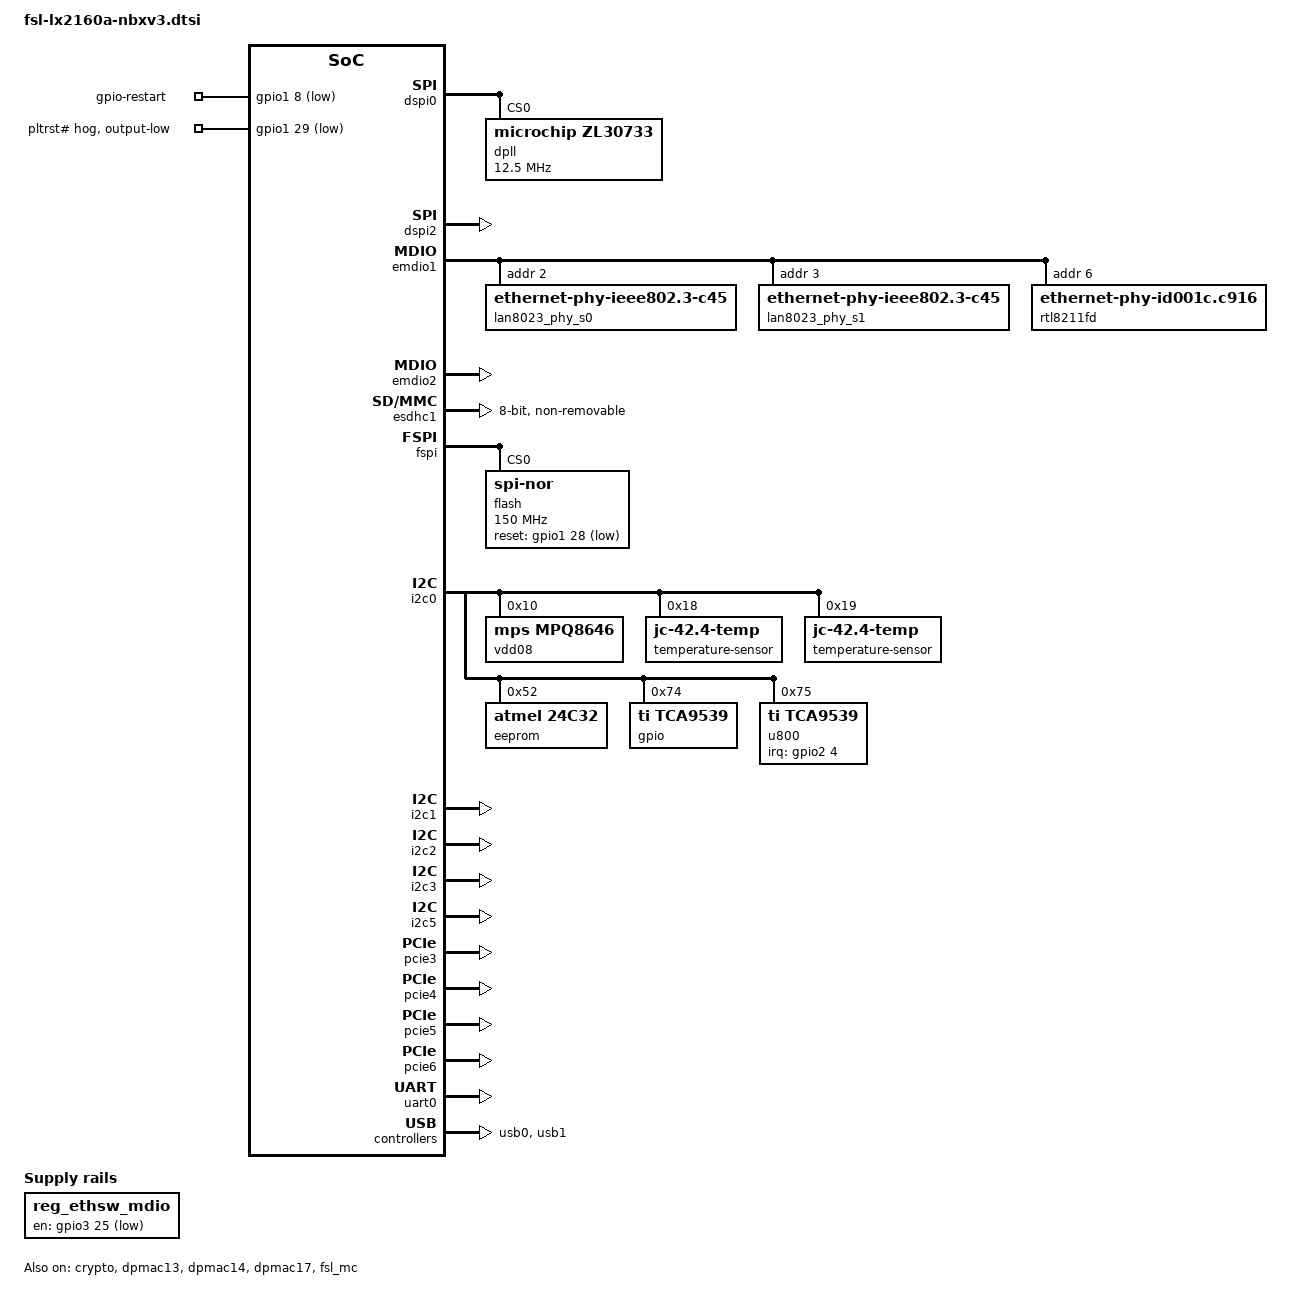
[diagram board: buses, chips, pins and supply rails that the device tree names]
// SPDX-License-Identifier: (GPL-2.0+ OR MIT)
/*
 * Free Mobile Nodebox v3 CPU Module (LX2160A)
 *
 * Copyright 2026 Free Mobile, Vincent Jardin
 *
 * This file is shared by the Linux kernel and U-Boot.
 */

#include <dt-bindings/gpio/gpio.h>
#include <dt-bindings/interrupt-controller/irq.h>

/ {

	aliases {
		serial0 = &uart0;
	};

	chosen {
		stdout-path = "serial0:115200n8";
	};

	gpio-restart {
		compatible = "gpio-restart";
		gpios = <&gpio1 8 GPIO_ACTIVE_LOW>;
		priority = <128>;
	};

	reg_ethsw_mdio: regulator-ethsw-mdio {
		compatible = "regulator-fixed";
		gpio = <&gpio3 25 GPIO_ACTIVE_LOW>;
		regulator-always-on;
		regulator-boot-on;
		regulator-name = "ethsw-mdio-en";
	};
};

&crypto {
	status = "okay";
};

&dpmac13 {
	phy-connection-type = "10gbase-r";
	phy-handle = <&lan8023_phy_s0>;

	status = "okay";
};

&dpmac14 {
	phy-connection-type = "10gbase-r";
	phy-handle = <&lan8023_phy_s1>;

	status = "okay";
};

&dpmac17 {
	phy-connection-type = "rgmii-id";
	phy-handle = <&rtl8211fd>;

	status = "okay";
};

&dspi0 {
	status = "okay";

	dpll@0 {
		compatible = "microchip,zl30733";
		reg = <0>;
		spi-max-frequency = <12500000>;
	};
};

&dspi2 {
	status = "okay";
};

&emdio1 {
	status = "okay";

	/* Microchip LAN8023 dual 10G PCS/retimer, Clause 45 only, one address per slice */
	lan8023_phy_s0: ethernet-phy@2 {
		compatible = "ethernet-phy-ieee802.3-c45";
		reg = <2>;
	};

	lan8023_phy_s1: ethernet-phy@3 {
		compatible = "ethernet-phy-ieee802.3-c45";
		reg = <3>;
	};

	rtl8211fd: ethernet-phy@6 {
		compatible = "ethernet-phy-id001c.c916";
		reg = <6>;
	};
};

&emdio2 {
	status = "okay";
};

&esdhc1 {
	bus-width = <8>;
	mmc-hs200-1_8v;
	mmc-hs400-1_8v;
	non-removable;

	status = "okay";
};

&fsl_mc {
	status = "okay";
};

&fspi {
	status = "okay";

	/* GigaDevice GD55LB02GF, 256 MiB boot NOR */
	flash@0 {
		compatible = "jedec,spi-nor";
		reg = <0>;
		#address-cells = <1>;
		#size-cells = <1>;
		reset-gpios = <&gpio1 28 GPIO_ACTIVE_LOW>;
		spi-max-frequency = <150000000>;
		spi-rx-bus-width = <1>;
		spi-tx-bus-width = <1>;
	};
};

&gpio0 {
	gpio-line-names =
		"", "",
		"altfn:iic1-sda", "altfn:iic1-scl",
		"altfn:uart4-sin", "altfn:uart4-sout",
		"altfn:uart2-sin", "altfn:uart2-sout",
		"altfn:uart3-sin", "altfn:uart3-sout",
		"altfn:uart1-sin", "altfn:uart1-sout",
		"altfn:spi3-pcs3", "altfn:spi3-pcs2",
		"altfn:spi3-pcs1", "altfn:spi3-pcs0",
		"altfn:spi1-sck", "altfn:spi1-sin",
		"altfn:spi1-pcs2", "altfn:spi1-pcs1",
		"altfn:spi1-pcs0", "altfn:spi1-sout",
		"altfn:iic6-sda", "altfn:iic6-scl",
		"altfn:spi3-sin", "altfn:spi3-sout",
		"altfn:iic4-sda", "altfn:iic4-scl",
		"altfn:iic3-sda", "altfn:iic3-scl",
		"altfn:iic2-sda", "altfn:iic2-scl";

	status = "okay";
};

&gpio1 {
	gpio-line-names =
		"", "", "", "", "", "",
		"cfg-rcw-src2", "cfg-rcw-src3",
		"reset-req-b",
		"altfn:sdhc2-clk", "altfn:sdhc2-ds",
		"altfn:sdhc2-dat0", "altfn:sdhc2-dat1",
		"altfn:sdhc2-dat2", "altfn:sdhc2-dat3",
		"altfn:sdhc2-dat4", "altfn:sdhc2-dat5",
		"altfn:sdhc2-dat6", "altfn:sdhc2-dat7",
		"altfn:sdhc2-cmd",
		"cfg-svr1",
		"altfn:xspi1-cs0", "altfn:xspi1-sck",
		"altfn:xspi1-dqs",
		"altfn:xspi1-data0", "altfn:xspi1-data1",
		"", "",
		"flash-reset#", "pltrst#", "", "ethsw-reset#";

	status = "okay";

	/* Platform reset, no consumer node: released at boot */
	pltrst-hog {
		gpio-hog;
		gpios = <29 GPIO_ACTIVE_LOW>;
		line-name = "pltrst#";
		output-low;
	};
};

&gpio2 {
	gpio-line-names =
		"lan8023-mdint",
		"i2c2-alert#", "i2c4-alert#", "i2c6-alert#",
		"u800-tca9539-int#",
		"spi3-alert#",
		"wake0", "wake1",
		"carrier-hot#",
		"u1300-rtl8211fd-int#",
		"ethsw-int#",
		"", "",
		"u1700-zl30733-clk-gpio0", "u1700-zl30733-clk-gpio1",
		"u1700-zl30733-clk-gpio2", "u1700-zl30733-clk-gpio3",
		"", "", "", "", "", "", "", "",
		"", "", "", "", "", "", "";

	status = "okay";
};

&gpio3 {
	gpio-line-names =
		"altfn:ec1-txd3", "altfn:ec1-txd2",
		"altfn:ec1-txd1", "altfn:ec1-txd0",
		"altfn:ec1-tx-en", "altfn:ec1-gtx-clk",
		"altfn:ec1-rxd3", "altfn:ec1-rxd2",
		"altfn:ec1-rxd1", "altfn:ec1-rxd0",
		"altfn:ec1-rx-clk", "altfn:ec1-rx-dv",
		"", "",
		"ptp-refclk-in",
		"", "", "", "", "", "", "", "",
		"u1700-zl30733-pps-out",
		"",
		"ethsw-mdio-en",
		"usb1-oc#",	/* USB1_PWRFAULT and USB2_PWRFAULT pads: one wired-OR net */
		"",
		"usb2-oc#",
		"altfn:spi3-sck",
		"", "";

	status = "okay";
};

/* On-module management bus */
&i2c0 {
	status = "okay";

	/* +0V8_VDD core rail, MPS MPQ8646 (MPQ8785 core) over PMBus */
	vdd08: regulator@10 {
		compatible = "mps,mpq8646";
		reg = <0x10>;
	};

	/* SO-DIMM SPD temperature sensors */
	temperature-sensor@18 {
		compatible = "jedec,jc-42.4-temp";
		reg = <0x18>;
	};

	temperature-sensor@19 {
		compatible = "jedec,jc-42.4-temp";
		reg = <0x19>;
	};

	eeprom@52 {
		compatible = "atmel,24c32";
		reg = <0x52>;
		pagesize = <32>;
	};

	/* Board ID straps */
	gpio@74 {
		compatible = "ti,tca9539";
		reg = <0x74>;
		#gpio-cells = <2>;
		gpio-controller;
		gpio-line-names =
			"boardid-0x0001", "boardid-0x0002",
			"boardid-0x0004", "boardid-0x0008",
			"boardid-0x0010", "boardid-0x0020",
			"boardid-0x0040", "boardid-0x0080",
			"boardid-0x0100", "boardid-0x0200",
			"boardid-0x0400", "boardid-0x0800",
			"boardid-0x1000", "boardid-0x2000",
			"boardid-0x4000", "boardid-0x8000";
	};

	u800: gpio@75 {
		compatible = "ti,tca9539";
		reg = <0x75>;
		#gpio-cells = <2>;
		#interrupt-cells = <2>;
		gpio-controller;
		gpio-line-names =
			"carrier-gpio0", "carrier-gpio1",
			"carrier-gpio2", "carrier-gpio3",
			"carrier-gpio4", "carrier-gpio5",
			"carrier-gpio6", "carrier-gpio7",
			"carrier-gpio8", "carrier-gpio9",
			"carrier-gpio10", "carrier-gpio11",
			"", "", "",
			"lan8023-rst";
		interrupt-controller;
		interrupt-parent = <&gpio2>;
		interrupts = <4 IRQ_TYPE_LEVEL_LOW>;
	};
};

&i2c1 {
	status = "okay";
};

&i2c2 {
	status = "okay";
};

&i2c3 {
	status = "okay";
};

&i2c5 {
	status = "okay";
};

&pcie3 {
	status = "okay";
};

&pcie4 {
	status = "okay";
};

&pcie5 {
	status = "okay";
};

&pcie6 {
	status = "okay";
};

&uart0 {
	status = "okay";
};

&usb0 {
	status = "okay";
};

&usb1 {
	status = "okay";
};
